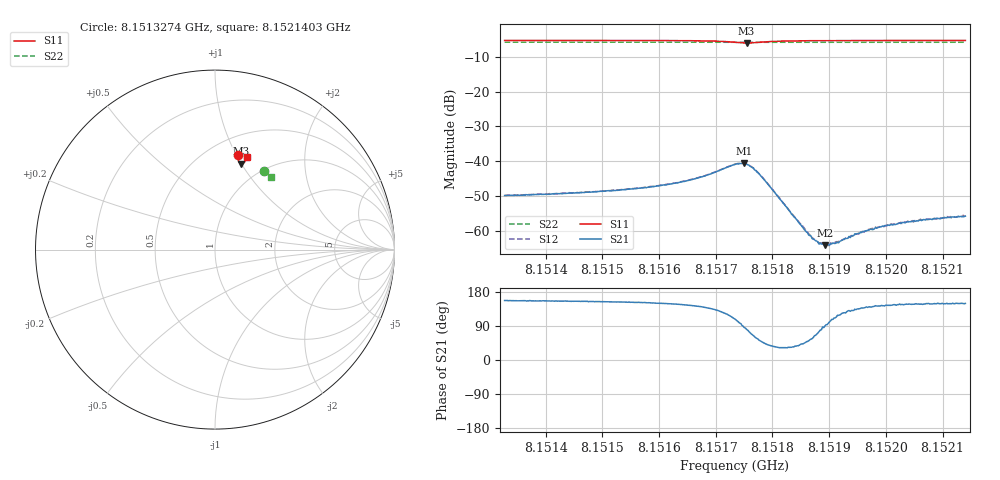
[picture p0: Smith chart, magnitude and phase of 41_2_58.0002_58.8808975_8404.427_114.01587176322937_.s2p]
#  HZ  S  RI  R  50.00
! Rohde & Schwarz Vector Network Analyzer
! Rohde-Schwarz,ZNB20-2Port,1311601062101988,3.16
! Created: UTC 3/21/2024, 12:52:05 AM
! freq[Hz]  re:S11  im:S11  re:S21  im:S21  re:S12  im:S12  re:S22  im:S22
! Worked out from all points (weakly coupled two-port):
!   401 points, 8.1513274 GHz to 8.1521403 GHz, reference 50 ohm
!   highest |S21| = -40.56 dB at 8.1517501 GHz (marker M1); lowest = -64.2 dB at 8.1518924 GHz (marker M2)
!   lowest |S11| = -6.0 dB at 8.1517542 GHz (marker M3), VSWR 3.01, Z = 38.9 + j49.9 ohm
!   |S11| at or under -10 dB: nowhere
!   |S22| runs from -5.8 to -5.8 dB; largest |S21 - S12| = 0.00031
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8.15132744e9  0.1293 0.5281  -0.00295 0.00125  -0.00294 0.00133  0.2718 0.4363
8.15146359e9  0.1401 0.5252  -0.0032 0.0015  -0.00319 0.00159  0.2792 0.4313
8.15152456e9  0.1455 0.5236  -0.0034 0.00173  -0.00338 0.00179  0.2826 0.4291
8.15159975e9  0.1533 0.5204  -0.00381 0.00222  -0.00384 0.00229  0.2865 0.4263
8.15162616e9  0.1565 0.5187  -0.00407 0.00257  -0.00403 0.00265  0.2879 0.4252
8.15166884e9  0.1626 0.5134  -0.00451 0.00355  -0.00447 0.00366  0.2904 0.4233
8.15173387e9  0.1635 0.4861  -0.00275 0.00854  -0.00264 0.00865  0.2932 0.4201
8.15175013e9  0.1493 0.4794  0.000715 0.00935  0.00062 0.00924  0.2933 0.4194
8.15175419e9  0.1448 0.4797  0.00143 0.00892  0.00157 0.0089  0.2933 0.4195
8.15176638e9  0.1338 0.4867  0.00347 0.00714  0.00357 0.00711  0.2937 0.4193
8.15178061e9  0.1296 0.4984  0.00398 0.00446  0.00408 0.00448  0.2944 0.4194
8.15185986e9  0.1473 0.5189  0.00064 0.000716  0.000674 0.000695  0.2993 0.4169
8.15187002e9  0.1492 0.5192  0.000424 0.000639  0.000446 0.000682  0.2998 0.4166
8.15188221e9  0.1511 0.5194  0.000164 0.000621  0.000208 0.000634  0.3006 0.416
8.15189238e9  0.1527 0.5194  7.81e-06 0.000618  5.17e-05 0.000626  0.301 0.4157
8.15189644e9  0.1532 0.5194  -3.77e-05 0.000629  6.03e-06 0.000671  0.3015 0.4155
8.15190254e9  0.154 0.5195  -0.000154 0.000641  -0.000142 0.00065  0.3015 0.4152
8.15191473e9  0.1557 0.5194  -0.000317 0.000596  -0.000283 0.000631  0.3022 0.4147
8.15195944e9  0.1606 0.5189  -0.000716 0.000664  -0.000727 0.000645  0.3047 0.4129
8.15200618e9  0.1651 0.5179  -0.000965 0.000694  -0.001 0.000731  0.3071 0.4111
8.15206917e9  0.1706 0.5167  -0.00121 0.000765  -0.00121 0.000772  0.3104 0.4084
8.1521403e9  0.1762 0.5152  -0.00139 0.00083  -0.00137 0.000852  0.314 0.4057
